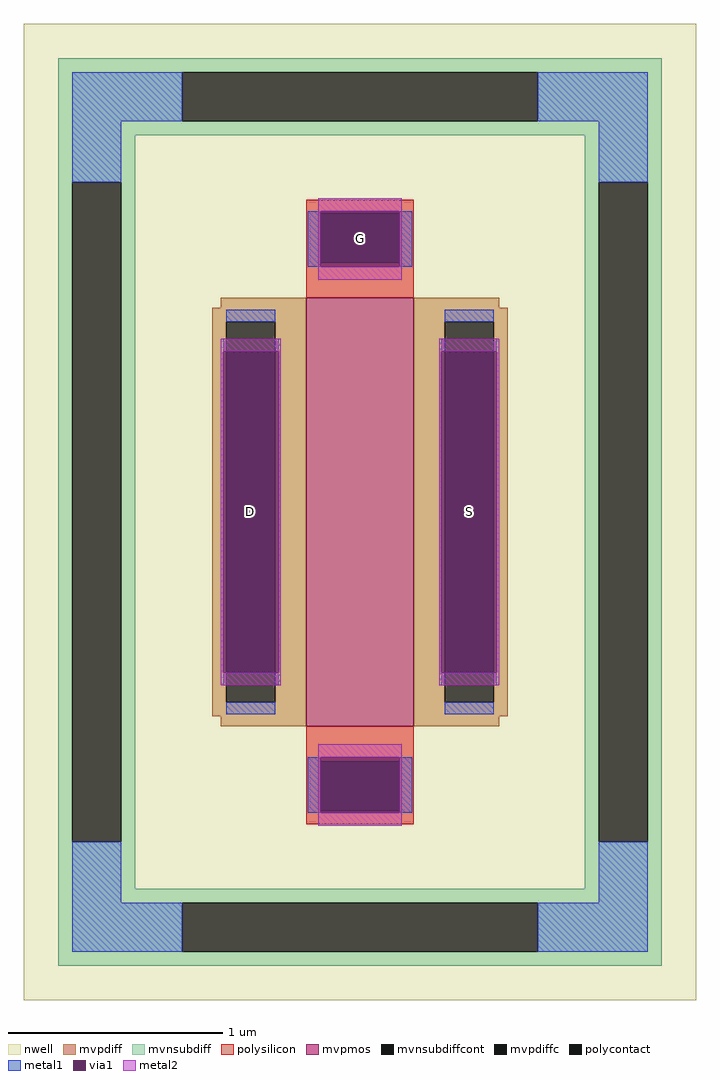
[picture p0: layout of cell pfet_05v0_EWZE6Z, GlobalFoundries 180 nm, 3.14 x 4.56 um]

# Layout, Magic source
magic
tech gf180mcuD
magscale 1 10
<< nwell >>
rect -314 -456 314 456
<< mvpmos >>
rect -50 -200 50 200
<< mvpdiff >>
rect -130 191 -50 200
rect -138 178 -50 191
rect -138 -178 -125 178
rect -79 -178 -50 178
rect -138 -191 -50 -178
rect -130 -200 -50 -191
rect 50 191 130 200
rect 50 178 138 191
rect 50 -178 79 178
rect 125 -178 138 178
rect 50 -191 138 -178
rect 50 -200 130 -191
<< mvpdiffc >>
rect -125 -178 -79 178
rect 79 -178 125 178
<< mvnsubdiff >>
rect -282 411 282 424
rect -282 365 -166 411
rect 166 365 282 411
rect -282 352 282 365
rect -282 308 -210 352
rect -282 -308 -269 308
rect -223 -308 -210 308
rect 210 308 282 352
rect -282 -352 -210 -308
rect 210 -308 223 308
rect 269 -308 282 308
rect 210 -352 282 -308
rect -282 -365 282 -352
rect -282 -411 -166 -365
rect 166 -411 282 -365
rect -282 -424 282 -411
<< mvnsubdiffcont >>
rect -166 365 166 411
rect -269 -308 -223 308
rect 223 -308 269 308
rect -166 -411 166 -365
<< polysilicon >>
rect -50 279 50 292
rect -50 233 -37 279
rect 37 233 50 279
rect -50 200 50 233
rect -50 -233 50 -200
rect -50 -279 -37 -233
rect 37 -279 50 -233
rect -50 -292 50 -279
<< polycontact >>
rect -37 233 37 279
rect -37 -279 37 -233
<< metal1 >>
rect -269 365 -166 411
rect 166 365 269 411
rect -269 308 -223 365
rect 223 308 269 365
rect -49 229 -37 281
rect 37 229 49 281
rect -125 178 -79 189
rect -128 150 -125 162
rect 79 178 125 189
rect -79 150 -76 162
rect -128 -162 -125 -150
rect -79 -162 -76 -150
rect 76 150 79 162
rect 125 150 128 162
rect 76 -162 79 -150
rect -125 -189 -79 -178
rect 125 -162 128 -150
rect 79 -189 125 -178
rect -49 -281 -37 -229
rect 37 -281 49 -229
rect -269 -365 -223 -308
rect 223 -365 269 -308
rect -269 -411 -166 -365
rect 166 -411 269 -365
<< via1 >>
rect -37 279 37 281
rect -37 233 37 279
rect -37 229 37 233
rect -128 -150 -125 150
rect -125 -150 -79 150
rect -79 -150 -76 150
rect 76 -150 79 150
rect 79 -150 125 150
rect 125 -150 128 150
rect -37 -233 37 -229
rect -37 -279 37 -233
rect -37 -281 37 -279
<< metal2 >>
rect -39 281 39 293
rect -39 229 -37 281
rect 37 229 39 281
rect -39 217 39 229
rect -130 150 -74 162
rect -130 -150 -128 150
rect -76 -150 -74 150
rect -130 -162 -74 -150
rect 74 150 130 162
rect 74 -150 76 150
rect 128 -150 130 150
rect 74 -162 130 -150
rect -39 -229 39 -217
rect -39 -281 -37 -229
rect 37 -281 39 -229
rect -39 -293 39 -281
<< labels >>
rlabel mvpdiffc -102 0 -102 0 0 D
port 1 nsew
rlabel mvpdiffc 102 0 102 0 0 S
port 2 nsew
rlabel polycontact 0 256 0 256 0 G
port 3 nsew
<< properties >>
string FIXED_BBOX -246 -388 246 388
string gencell pfet_05v0
string library gf180mcu
string parameters w 2.0 l 0.5 m 1 nf 1 diffcov 95 polycov 100 guard 1 glc 1 grc 1 gtc 1 gbc 1 tbcov 100 rlcov 100 topc 1 botc 1 poverlap 0 doverlap 0 lmin 0.5 wmin 0.3 class mosfet full_metal 1 viasrc 80 viadrn 80 viagate 100 viagb 0 viagr 0 viagl 0 viagt 0 doports 1 compatible {pfet_03v3 pfet_05v0 pfet_06v0}
<< end >>
